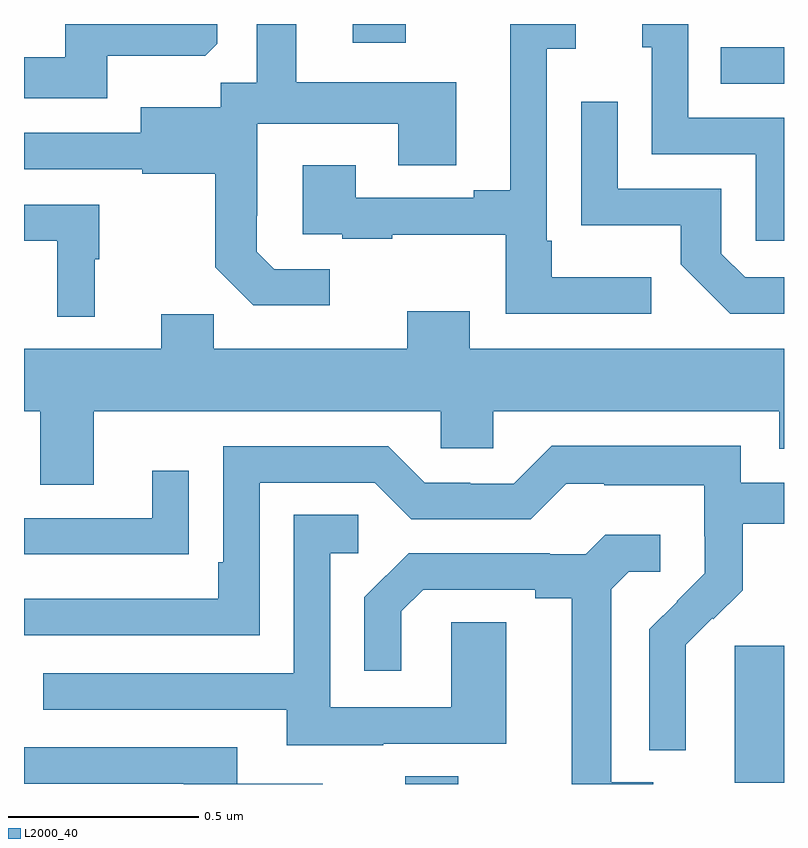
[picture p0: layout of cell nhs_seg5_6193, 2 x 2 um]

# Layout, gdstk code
import gdstk
lib = gdstk.Library(unit=1e-6, precision=1e-09)
def R(c, l, rs):  # rectangles x0, y0, x1, y1
    for r in rs: c.add(gdstk.rectangle(r[:2], r[2:], *l))
def P(c, l, *ps):  # polygons
    for p in ps: c.add(gdstk.Polygon(p, *l))
L2000_40 = (2000, 40)

nhs_seg5_6193 = lib.new_cell('nhs_seg5_6193')
R(nhs_seg5_6193, L2000_40, [(194.003,835.799,194.143,835.82), (194.87,835.802,195,836.163), (194.833,837.642,195,837.738), (193.865,837.75,194.005,837.799)])
P(nhs_seg5_6193, L2000_40, [(195,837.552),(194.748,837.552),(194.748,837.799),(194.627,837.799),(194.627,837.738),(194.652,837.738),(194.652,837.456),(194.925,837.456),(194.925,837.228),(195,837.228)],
  [(193.219,837.716),(193.477,837.716),(193.509,837.747),(193.509,837.799),(193.109,837.799),(193.109,837.712),(193,837.712),(193,837.603),(193.219,837.603)],
  [(193.804,837.153),(193.659,837.153),(193.612,837.2),(193.612,837.295),(193.614,837.295),(193.614,837.536),(193.985,837.536),(193.985,837.427),(194.137,837.427),(194.137,837.646),(193.717,837.646),(193.717,837.799),(193.613,837.799),(193.613,837.644),(193.518,837.644),(193.518,837.58),(193.307,837.58),(193.307,837.513),(193,837.513),(193,837.417),(193.311,837.417),(193.311,837.405),(193.503,837.405),(193.503,837.159),(193.603,837.059),(193.804,837.059)],
  [(194.65,837.133),(194.389,837.133),(194.389,837.229),(194.376,837.229),(194.376,837.734),(194.452,837.734),(194.452,837.799),(194.279,837.799),(194.279,837.361),(194.183,837.361),(194.183,837.342),(193.873,837.342),(193.873,837.427),(193.733,837.427),(193.733,837.246),(193.837,837.246),(193.837,837.234),(193.969,837.234),(193.969,837.245),(194.268,837.245),(194.268,837.036),(194.65,837.036)],
  [(195,837.132),(194.898,837.132),(194.835,837.195),(194.835,837.366),(194.562,837.366),(194.562,837.595),(194.466,837.595),(194.466,837.269),(194.728,837.269),(194.728,837.167),(194.858,837.036),(195,837.036)],
  [(193.186,837.18),(193.198,837.18),(193.198,837.324),(193,837.324),(193,837.228),(193.088,837.228),(193.088,837.029),(193.186,837.029)],
  [(194.097,836.682),(194.235,836.682),(194.235,836.78),(194.987,836.78),(194.987,836.681),(195,836.681),(195,836.944),(194.173,836.944),(194.173,837.043),(194.009,837.043),(194.009,836.944),(193.499,836.944),(193.499,837.035),(193.361,837.035),(193.361,836.944),(193,836.944),(193,836.78),(193.043,836.78),(193.043,836.586),(193.183,836.586),(193.183,836.78),(194.097,836.78)],
  [(194.742,836.042),(194.741,836.042),(194.741,836.165),(194.811,836.235),(194.814,836.232),(194.891,836.309),(194.891,836.484),(195,836.484),(195,836.592),(194.886,836.592),(194.886,836.689),(194.389,836.689),(194.289,836.589),(194.174,836.589),(194.174,836.592),(194.055,836.592),(193.959,836.688),(193.524,836.688),(193.524,836.383),(193.511,836.383),(193.511,836.286),(193,836.286),(193,836.19),(193.62,836.19),(193.62,836.592),(193.923,836.592),(194.019,836.496),(194.334,836.496),(194.427,836.589),(194.527,836.589),(194.527,836.585),(194.79,836.585),(194.79,836.451),(194.792,836.451),(194.792,836.354),(194.718,836.28),(194.719,836.279),(194.646,836.206),(194.646,835.888),(194.742,835.888)],
  [(193.331,836.404),(193.433,836.404),(193.433,836.623),(193.337,836.623),(193.337,836.499),(193,836.499),(193,836.403),(193.331,836.403)],
  [(193.945,835.905),(194.269,835.905),(194.269,836.225),(194.124,836.225),(194.124,836.001),(193.806,836.001),(193.806,836.406),(193.879,836.406),(193.879,836.507),(193.71,836.507),(193.71,836.091),(193.051,836.091),(193.051,835.995),(193.691,835.995),(193.691,835.901),(193.945,835.901)],
  [(194.656,835.803),(194.545,835.803),(194.545,836.311),(194.592,836.358),(194.674,836.358),(194.674,836.455),(194.53,836.455),(194.478,836.403),(194.384,836.403),(194.384,836.406),(194.012,836.406),(193.896,836.29),(193.896,836.097),(193.993,836.097),(193.993,836.253),(194.05,836.31),(194.345,836.31),(194.345,836.288),(194.441,836.288),(194.441,835.799),(194.656,835.799)],
  [(193.786,835.8),(193.561,835.8),(193.561,835.896),(193,835.896),(193,835.8),(193.421,835.8),(193.421,835.799),(193.786,835.799)])

lib.write_gds('nhs_seg5_6193.gds')
